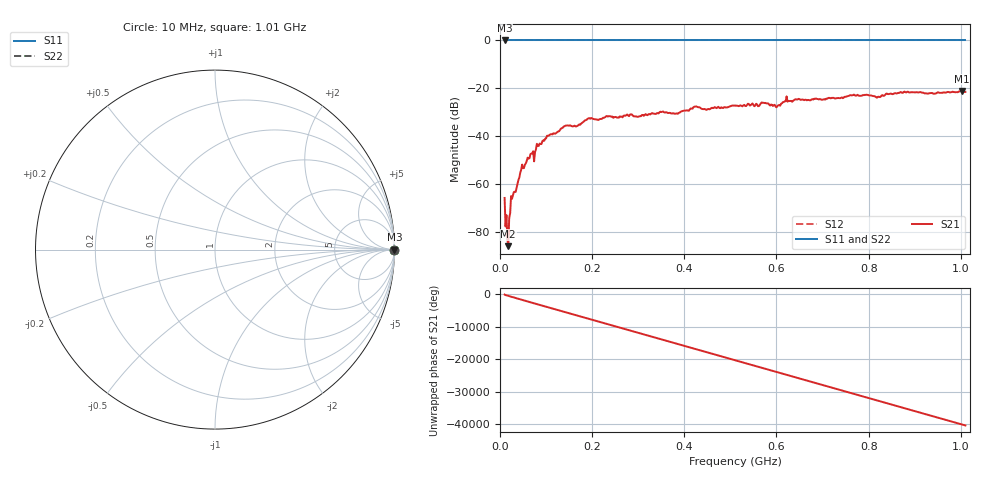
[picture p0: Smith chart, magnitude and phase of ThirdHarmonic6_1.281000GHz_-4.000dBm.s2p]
! 8/16/2025 1:56:02 PM
! C:\ANRITSUVNA\TEMP\TEMP.S2P
! CHANNEL.1
! TR.MEASUREMENT
! RAW.DATA
! RF.CORRECTION.OFF
! AVERAGING.OFF
! IF.BANDWIDTH: 5KHZ
! SWEEPTYPE:  FREQ.SWEEP(Linear)
! Reference Plane Port Info
! PORT:  PORT1  PORT2
! DISTANCE:  0  m  0  m
! TIME:  0  s  0  s
! PHASE.OFFSET:  0  deg.  0  deg.
! LOSS:  0  dB  0  dB
! REF.LOSS:  0  dB  0  dB
! REF.FREQ:  0  Hz  0  Hz
! Power Info
! POWER:  -20  dBm  -20  dBm
! EFF.POWER:  -20  dBm  -20  dBm
! SOURCE.ATTEN:  0  dB  0  dB
! TEST.ATTEN:  0  dB  0  dB
# GHZ S RI R 50.0
! FREQ.GHZ  S11RE  S11IM  S21RE  S21IM  S12RE  S12IM  S22RE  S22IM
!; PortSelection: Port_12
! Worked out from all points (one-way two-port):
!   501 points, 10 MHz to 1.01 GHz, reference 50 ohm
!   highest |S21| = -21.14 dB at 1.002 GHz (marker M1); lowest = -85.9 dB at 18 MHz (marker M2)
!   lowest |S11| = 0.0 dB at 10 MHz (marker M3)
!   |S11| at or under -10 dB: nowhere
!   |S22| runs from 0.0 to 0.0 dB; largest |S21 - S12| = 1.1
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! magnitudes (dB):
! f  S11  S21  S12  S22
! 10 MHz  0.0  -65.8  0.0  0.0
! 16 MHz  0.0  -83.0  0.0  0.0
! 18 MHz  0.0  -85.9  0.0  0.0
! 28 MHz  0.0  -64.6  0.0  0.0
! 36 MHz  0.0  -61.5  0.0  0.0
! 46 MHz  0.0  -54.0  0.0  0.0
! 64 MHz  0.0  -49.1  0.0  0.0
! 106 MHz  0.0  -39.7  0.0  0.0
! 142 MHz  0.0  -35.6  0.0  0.0
! 178 MHz  0.0  -34.4  0.0  0.0
! 194 MHz  0.0  -32.4  0.0  0.0
! 344 MHz  0.0  -30.5  0.0  0.0
! 384 MHz  0.0  -30.5  0.0  0.0
! 424 MHz  0.0  -27.6  0.0  0.0
! 510 MHz  0.0  -27.2  0.0  0.0
! 572 MHz  0.0  -26.1  0.0  0.0
! 602 MHz  0.0  -27.4  0.0  0.0
! 618 MHz  0.0  -25.4  0.0  0.0
! 678 MHz  0.0  -24.5  0.0  0.0
! 844 MHz  0.0  -22.4  0.0  0.0
! 1.002 GHz  0.0  -21.1  0.0  0.0
! 1.01 GHz  0.0  -21.5  0.0  0.0
